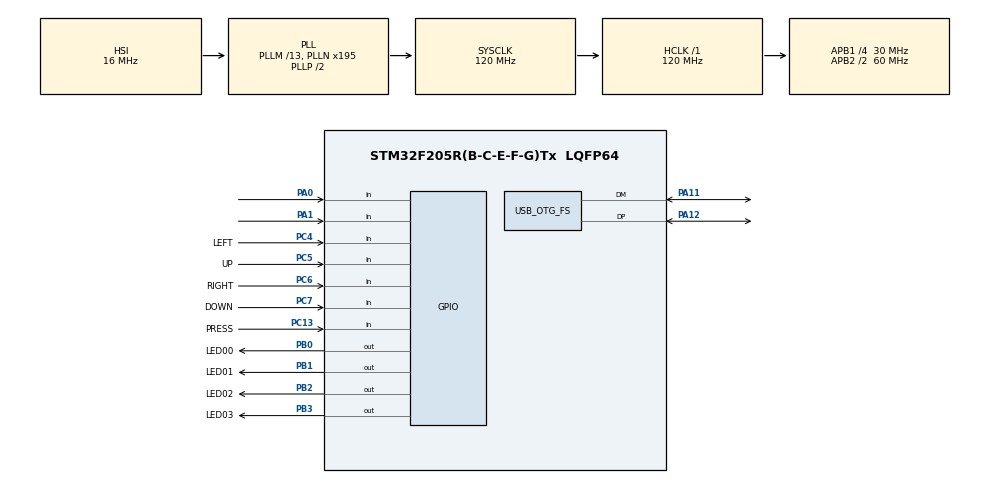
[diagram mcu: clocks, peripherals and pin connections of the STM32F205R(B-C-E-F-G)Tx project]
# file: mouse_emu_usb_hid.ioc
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Mcu.Family=STM32F2
Mcu.Name=STM32F205R(B-C-E-F-G)Tx
Mcu.Package=LQFP64
NVIC.OTG_FS_IRQn=true\:0\:0\:false\:false\:true\:false
NVIC.PriorityGroup=NVIC_PRIORITYGROUP_4
PA0-WKUP.GPIO_PuPd=GPIO_PULLUP
PA0-WKUP.Signal=GPIO_Input
PA1.GPIO_PuPd=GPIO_PULLUP
PA1.Signal=GPIO_Input
PA11.Mode=Device_Only
PA11.Signal=USB_OTG_FS_DM
PA12.Mode=Device_Only
PA12.Signal=USB_OTG_FS_DP
PA13.Mode=Serial_Wire
PA13.Signal=SYS_JTMS-SWDIO
PA14.Mode=Serial_Wire
PA14.Signal=SYS_JTCK-SWCLK
PB0.GPIO_Label=LED00
PB0.Signal=GPIO_Output
PB1.GPIO_Label=LED01
PB1.Signal=GPIO_Output
PB2.GPIO_Label=LED02
PB2.Signal=GPIO_Output
PB3.GPIO_Label=LED03
PB3.Signal=GPIO_Output
PC13.GPIO_Label=PRESS
PC13.GPIO_PuPd=GPIO_PULLUP
PC13.Signal=GPIO_Input
PC4.GPIO_Label=LEFT
PC4.GPIO_PuPd=GPIO_PULLUP
PC4.Signal=GPIO_Input
PC5.GPIO_Label=UP
PC5.GPIO_PuPd=GPIO_PULLUP
PC5.Signal=GPIO_Input
PC6.GPIO_Label=RIGHT
PC6.GPIO_PuPd=GPIO_PULLUP
PC6.Signal=GPIO_Input
PC7.GPIO_Label=DOWN
PC7.GPIO_PuPd=GPIO_PULLUP
PC7.Signal=GPIO_Input
PH0-OSC_IN.Mode=HSE-External-Oscillator
PH0-OSC_IN.Signal=RCC_OSC_IN
PH1-OSC_OUT.Mode=HSE-External-Oscillator
PH1-OSC_OUT.Signal=RCC_OSC_OUT
ProjectManager.HeapSize=0x200
ProjectManager.StackSize=0x400
ProjectManager.TargetToolchain=MDK-ARM V5
RCC.48MHZClocksFreq_Value=48000000
RCC.AHBFreq_Value=120000000
RCC.APB1CLKDivider=RCC_HCLK_DIV4
RCC.APB1Freq_Value=30000000
RCC.APB1TimFreq_Value=60000000
RCC.APB2CLKDivider=RCC_HCLK_DIV2
RCC.APB2Freq_Value=60000000
RCC.APB2TimFreq_Value=120000000
RCC.CortexFreq_Value=120000000
RCC.HCLKFreq_Value=120000000
RCC.HSE_VALUE=25000000
RCC.HSI_VALUE=16000000
RCC.LSE_VALUE=32768
RCC.PLLM=13
RCC.PLLN=195
RCC.PLLQ=5
RCC.SYSCLKFreq_VALUE=120000000
RCC.SYSCLKSource=RCC_SYSCLKSOURCE_PLLCLK
RCC.VCOOutputFreq_Value=240000000
USB_DEVICE.CLASS_NAME_FS=HID
USB_DEVICE.VirtualMode-HID_FS=Hid
USB_DEVICE.VirtualModeFS=Hid_FS
USB_OTG_FS.VirtualMode=Device_Only
VP_USB_DEVICE_VS_USB_DEVICE_HID_FS.Mode=HID_FS
board=custom

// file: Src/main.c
/**
  ******************************************************************************
  * @file           : main.c
  * @brief          : Main program body
  ******************************************************************************
  * This notice applies to any and all portions of this file
  * that are not between comment pairs USER CODE BEGIN and
  * USER CODE END. Other portions of this file, whether
  * inserted by the user or by software development tools
  * are owned by their respective copyright owners.
  *
  * Copyright (c) 2019 STMicroelectronics International N.V.
  * All rights reserved.
  *
  * Redistribution and use in source and binary forms, with or without
  * modification, are permitted, provided that the following conditions are met:
  *
  * 1. Redistribution of source code must retain the above copyright notice,
  *    this list of conditions and the following disclaimer.
  * 2. Redistributions in binary form must reproduce the above copyright notice,
  *    this list of conditions and the following disclaimer in the documentation
  *    and/or other materials provided with the distribution.
  * 3. Neither the name of STMicroelectronics nor the names of other
  *    contributors to this software may be used to endorse or promote products
  *    derived from this software without specific written permission.
  * 4. This software, including modifications and/or derivative works of this
  *    software, must execute solely and exclusively on microcontroller or
  *    microprocessor devices manufactured by or for STMicroelectronics.
  * 5. Redistribution and use of this software other than as permitted under
  *    this license is void and will automatically terminate your rights under
  *    this license.
  *
  * THIS SOFTWARE IS PROVIDED BY STMICROELECTRONICS AND CONTRIBUTORS "AS IS"
  * AND ANY EXPRESS, IMPLIED OR STATUTORY WARRANTIES, INCLUDING, BUT NOT
  * LIMITED TO, THE IMPLIED WARRANTIES OF MERCHANTABILITY, FITNESS FOR A
  * PARTICULAR PURPOSE AND NON-INFRINGEMENT OF THIRD PARTY INTELLECTUAL PROPERTY
  * RIGHTS ARE DISCLAIMED TO THE FULLEST EXTENT PERMITTED BY LAW. IN NO EVENT
  * SHALL STMICROELECTRONICS OR CONTRIBUTORS BE LIABLE FOR ANY DIRECT, INDIRECT,
  * INCIDENTAL, SPECIAL, EXEMPLARY, OR CONSEQUENTIAL DAMAGES (INCLUDING, BUT NOT
  * LIMITED TO, PROCUREMENT OF SUBSTITUTE GOODS OR SERVICES; LOSS OF USE, DATA,
  * OR PROFITS; OR BUSINESS INTERRUPTION) HOWEVER CAUSED AND ON ANY THEORY OF
  * LIABILITY, WHETHER IN CONTRACT, STRICT LIABILITY, OR TORT (INCLUDING
  * NEGLIGENCE OR OTHERWISE) ARISING IN ANY WAY OUT OF THE USE OF THIS SOFTWARE,
  * EVEN IF ADVISED OF THE POSSIBILITY OF SUCH DAMAGE.
  *
  ******************************************************************************
  */
#include "main.h"
#include "stm32f2xx_hal.h"
#include "usb_device.h"
#include "usbd_hid.h"
#include "gpio.h"

/* USER CODE BEGIN PV */
#ifdef HID_MOUSE
// HID Mouse
struct mouseHID_t {
      uint8_t buttons;
      int8_t x;
      int8_t y;
      int8_t wheel;
};
struct mouseHID_t mouseHID;
#else
uint8_t HID_Buffer[4];
#endif

/* Private variables ---------------------------------------------------------*/

/* USER CODE END PV */

void SystemClock_Config(void);

/* USER CODE BEGIN PFP */
/* Private function prototypes -----------------------------------------------*/

/* USER CODE END PFP */

/* USER CODE BEGIN 0 */
/**
  * @brief  Gets Pointer Data.
  * @param  pbuf: Pointer to report
  * @retval None
  */

#ifdef HID_MOUSE
static void GetPointerData(void)
#else
static void GetPointerData(uint8_t *pbuf)
#endif
{
  int8_t  x = 0, y = 0 ;
	int8_t  key = 0x08;

  switch(BSP_JOY_GetState())
  {
    case JOY_LEFT:
      x -= CURSOR_STEP;
			BSP_LED_Toggle(LED1);
      break;

    case JOY_RIGHT:
      x += CURSOR_STEP;
			BSP_LED_Toggle(LED2);
      break;

    case JOY_UP:
      y -= CURSOR_STEP;
			BSP_LED_Toggle(LED3);
      break;

    case JOY_DOWN:
      y += CURSOR_STEP;
			BSP_LED_Toggle(LED4);
      break;

    case WAKEUP:
			key = LEFT_KEY;
			BSP_LED_Toggle(LED1);
			break;

		case USER:
			key = RIGHT_KEY;
			BSP_LED_Toggle(LED2);
			break;
    default:
      break;
	}
	pbuf[0] = key;
	pbuf[1] = x;
	pbuf[2] = y;
	pbuf[3] = 0;

}
void LED_flow(void){
	BSP_LED_On(LED1);
	HAL_Delay(1000);
	BSP_LED_On(LED2);
	HAL_Delay(1000);
	BSP_LED_On(LED3);
	HAL_Delay(1000);
	BSP_LED_On(LED4);
	HAL_Delay(1000);
	BSP_LED_Off(LED4);
	HAL_Delay(1000);
	BSP_LED_Off(LED3);
	HAL_Delay(1000);
	BSP_LED_Off(LED2);
	HAL_Delay(1000);
	BSP_LED_Off(LED1);
	HAL_Delay(1000);

}

/* USER CODE END 0 */

int main(void)
{

  /* MCU Configuration----------------------------------------------------------*/

  /* Reset of all peripherals, Initializes the Flash interface and the Systick. */

  HAL_Init();

  /* Configure the system clock */
  SystemClock_Config();

  /* Initialize all configured peripherals */
  MX_GPIO_Init();
  MX_USB_DEVICE_Init();

  /* Infinite loop */
  while (1)
  {
	//GetPointerData(HID_Buffer);
	//LED_flow();
  }

}

void SystemClock_Config(void)
{

  RCC_OscInitTypeDef RCC_OscInitStruct;
  RCC_ClkInitTypeDef RCC_ClkInitStruct;

    /**Initializes the CPU, AHB and APB busses clocks
    */
  RCC_OscInitStruct.OscillatorType = RCC_OSCILLATORTYPE_HSI;
  RCC_OscInitStruct.HSIState = RCC_HSI_ON;
  RCC_OscInitStruct.HSICalibrationValue = 16;
  RCC_OscInitStruct.PLL.PLLState = RCC_PLL_ON;
  RCC_OscInitStruct.PLL.PLLSource = RCC_PLLSOURCE_HSI;
  RCC_OscInitStruct.PLL.PLLM = 13;
  RCC_OscInitStruct.PLL.PLLN = 195;
  RCC_OscInitStruct.PLL.PLLP = RCC_PLLP_DIV2;
  RCC_OscInitStruct.PLL.PLLQ = 5;
  if (HAL_RCC_OscConfig(&RCC_OscInitStruct) != HAL_OK)
  {
    _Error_Handler(__FILE__, __LINE__);
  }

    /**Initializes the CPU, AHB and APB busses clocks
    */
  RCC_ClkInitStruct.ClockType = RCC_CLOCKTYPE_HCLK|RCC_CLOCKTYPE_SYSCLK
                              |RCC_CLOCKTYPE_PCLK1|RCC_CLOCKTYPE_PCLK2;
  RCC_ClkInitStruct.SYSCLKSource = RCC_SYSCLKSOURCE_PLLCLK;
  RCC_ClkInitStruct.AHBCLKDivider = RCC_SYSCLK_DIV1;
  RCC_ClkInitStruct.APB1CLKDivider = RCC_HCLK_DIV4;
  RCC_ClkInitStruct.APB2CLKDivider = RCC_HCLK_DIV2;

  if (HAL_RCC_ClockConfig(&RCC_ClkInitStruct, FLASH_LATENCY_3) != HAL_OK)
  {
    _Error_Handler(__FILE__, __LINE__);
  }

    /**Configure the Systick interrupt time
    */
  HAL_SYSTICK_Config(HAL_RCC_GetHCLKFreq()/1000);

    /**Configure the Systick
    */
  HAL_SYSTICK_CLKSourceConfig(SYSTICK_CLKSOURCE_HCLK);

  /* SysTick_IRQn interrupt configuration */
  HAL_NVIC_SetPriority(SysTick_IRQn, 0, 0);
}

/* USER CODE BEGIN 4 */

/**
  * @brief  SYSTICK callback.
  * @retval None
  */
void HAL_SYSTICK_Callback(void)
{
  /* NOTE : This function Should not be modified, when the callback is needed,
            the HAL_SYSTICK_Callback could be implemented in the user file
   */
    static __IO uint32_t counter=0;
    /* check Joystick state every polling interval (10ms) */
	if (counter++ == USBD_HID_GetPollingInterval(&hUsbDeviceFS))
	{
    GetPointerData(HID_Buffer);

    /* send data though IN endpoint*/
		if(((HID_Buffer[0] != 0)) || ((HID_Buffer[1] != 0)) || ((HID_Buffer[2] != 0)))
   {
      USBD_HID_SendReport(&hUsbDeviceFS, HID_Buffer, 4);
   }
	    counter =0;
  }

  //BSP_LED_Toggle(LED1);
}

/* USER CODE END 4 */

void _Error_Handler(char *file, int line)
{
  while(1)
  {
  }
}

/************************ (C) COPYRIGHT STMicroelectronics *****END OF FILE****/
